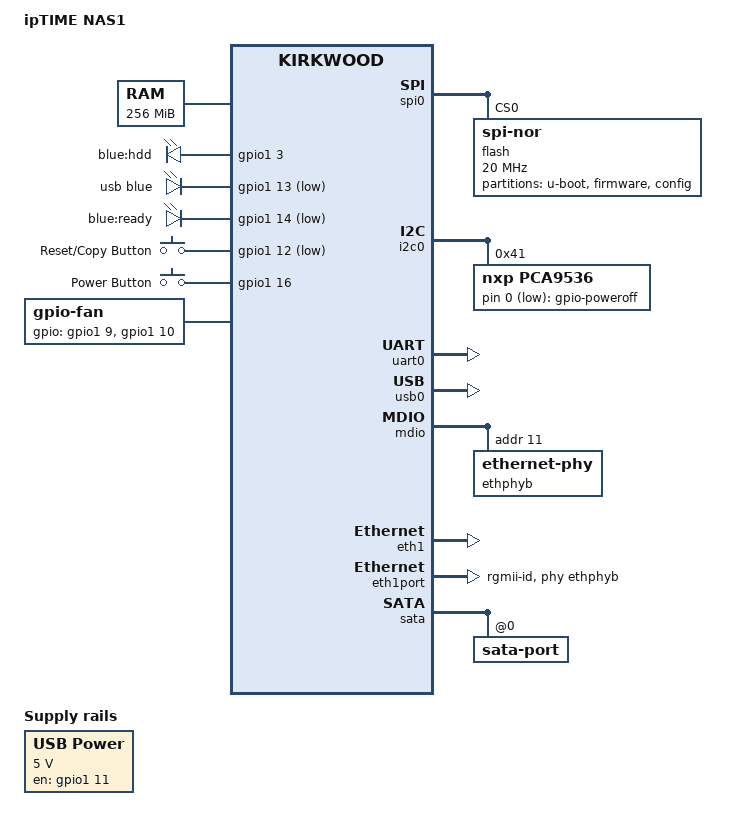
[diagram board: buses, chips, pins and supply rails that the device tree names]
// SPDX-License-Identifier: GPL-2.0-or-later OR MIT
/dts-v1/;

#include <dt-bindings/leds/common.h>

#include "kirkwood.dtsi"
#include "kirkwood-6281.dtsi"

/ {
	model = "ipTIME NAS1";
	compatible = "iptime,nas1", "marvell,kirkwood-88f6281", "marvell,kirkwood";

	aliases {
		serial0 = &uart0;
		led-boot = &led_ready;
		led-failsafe = &led_ready;
		led-running = &led_ready;
		led-upgrade = &led_ready;
	};

	chosen {
		/*
		 * "root" argument from the stock bootloader should be ignored
		 * as it'll prevent the kernel from finding the correct rootfs.
		 */
		bootargs-append = " console=ttyS0,115200 root=";
		stdout-path = "serial0:115200n8";
	};

	memory@0 {
		device_type = "memory";
		reg = <0x00000000 0x10000000>;
	};

	gpio-leds {
		compatible = "gpio-leds";

		pinctrl-0 = <&pmx_led>;
		pinctrl-names = "default";

		hdd {
			label = "blue:hdd";
			gpios = <&gpio1 3 GPIO_ACTIVE_HIGH>;
			linux,default-trigger = "ata1";
		};

		usb {
			function = LED_FUNCTION_USB;
			color = <LED_COLOR_ID_BLUE>;
			gpios = <&gpio1 13 GPIO_ACTIVE_LOW>;
			trigger-sources = <&ehci_port1>;
			linux,default-trigger = "usbport";
		};

		led_ready: ready {
			label = "blue:ready";
			gpios = <&gpio1 14 GPIO_ACTIVE_LOW>;
		};
	};

	gpio-keys {
		compatible = "gpio-keys";

		pinctrl-0 = <&pmx_button>;
		pinctrl-names = "default";

		reset-copy {
			label = "Reset/Copy Button";
			linux,code = <KEY_RESTART>;
			gpios = <&gpio1 12 GPIO_ACTIVE_LOW>;
		};

		power {
			label = "Power Button";
			linux,code = <KEY_POWER>;
			gpios = <&gpio1 16 GPIO_ACTIVE_HIGH>;
		};
	};

	gpio-fan {
		compatible = "gpio-fan";

		pinctrl-0 = <&pmx_fan>;
		pinctrl-names = "default";
		gpios = <&gpio1  9 GPIO_ACTIVE_HIGH>,
		        <&gpio1 10 GPIO_ACTIVE_HIGH>;
		/* We don't know the exact rpm, just use dummy values here. */
		gpio-fan,speed-map = <0 0>, <1 1>, <2 2>;
		#cooling-cells = <2>;
	};

	gpio-poweroff {
		compatible = "gpio-poweroff";
		gpios = <&pca9536 0 GPIO_ACTIVE_LOW>;
	};

	regulators {
		compatible = "simple-bus";
		#address-cells = <1>;
		#size-cells = <0>;

		pinctrl-0 = <&pmx_usb_vbus>;
		pinctrl-names = "default";

		regulator@1 {
			compatible = "regulator-fixed";
			reg = <1>;
			regulator-name = "USB Power";
			regulator-min-microvolt = <5000000>;
			regulator-max-microvolt = <5000000>;
			enable-active-high;
			regulator-always-on;
			gpios = <&gpio1 11 GPIO_ACTIVE_HIGH>;
		};
	};
};

&pinctrl {
	pmx_led: pmx-led {
		marvell,pins = "mpp35", "mpp45", "mpp46";
		marvell,function = "gpio";
	};

	pmx_fan: pmx-fan {
		marvell,pins = "mpp41", "mpp42";
		marvell,function = "gpio";
	};

	pmx_usb_vbus: pmx-usb-vbus {
		marvell,pins = "mpp43";
		marvell,function = "gpio";
	};

	pmx_button: pmx-button {
		marvell,pins = "mpp44", "mpp48";
		marvell,function = "gpio";
	};
};

&spi0 {
	status = "okay";

	flash@0 {
		compatible = "jedec,spi-nor";
		reg = <0>;
		spi-max-frequency = <20000000>;

		partitions {
			compatible = "fixed-partitions";
			#address-cells = <1>;
			#size-cells = <1>;

			partition@0 {
				label = "u-boot";
				reg = <0x0 0x40000>;
				read-only;
			};

			partition@40000 {
				compatible = "openwrt,uimage", "denx,uimage";
				openwrt,offset = <0x400>;
				label = "firmware";
				reg = <0x40000 0xf80000>;
			};

			partition@fc0000 {
				label = "config";
				reg = <0xfc0000 0x40000>;
				read-only;
			};
		};
	};
};

&rtc {
	status = "disabled";
};

&i2c0 {
	status = "okay";

	pca9536: gpio@41 {
		compatible = "nxp,pca9536";
		reg = <0x41>;
		gpio-controller;
		#gpio-cells = <2>;
	};
};

&uart0 {
	status = "okay";
};

&usb0 {
	status = "okay";

	#address-cells = <1>;
	#size-cells = <0>;

	ehci_port1: port@1 {
		reg = <1>;
		#trigger-source-cells = <0>;
	};
};

&mdio {
	status = "okay";

	ethphyb: ethernet-phy@b {
		reg = <0x0b>;
	};
};

&eth1 {
	status = "okay";
};

&eth1port {
	phy-handle = <&ethphyb>;
	phy-connection-type = "rgmii-id";
};

&sata {
	status = "okay";

	#address-cells = <1>;
	#size-cells = <0>;
	nr-ports = <1>;

	sata-port@0 {
		reg = <0>;
		#thermal-sensor-cells = <0>;
	};
};
